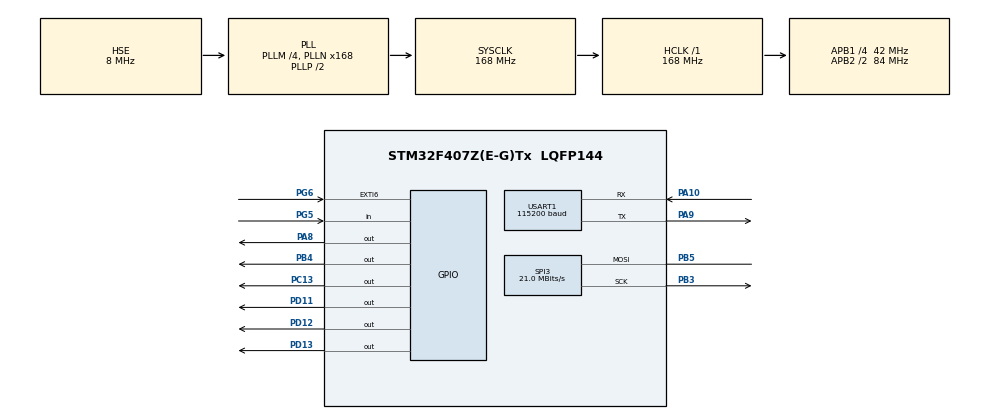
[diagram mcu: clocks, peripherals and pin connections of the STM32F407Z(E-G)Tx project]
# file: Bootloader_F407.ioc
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Dma.Request0=USART1_RX
Dma.Request1=USART1_TX
Dma.USART1_RX.0.Direction=DMA_PERIPH_TO_MEMORY
Dma.USART1_RX.0.FIFOMode=DMA_FIFOMODE_DISABLE
Dma.USART1_RX.0.Instance=DMA2_Stream2
Dma.USART1_RX.0.MemDataAlignment=DMA_MDATAALIGN_BYTE
Dma.USART1_RX.0.MemInc=DMA_MINC_ENABLE
Dma.USART1_RX.0.Mode=DMA_CIRCULAR
Dma.USART1_RX.0.PeriphDataAlignment=DMA_PDATAALIGN_BYTE
Dma.USART1_RX.0.PeriphInc=DMA_PINC_DISABLE
Dma.USART1_RX.0.Priority=DMA_PRIORITY_LOW
Dma.USART1_TX.1.Direction=DMA_MEMORY_TO_PERIPH
Dma.USART1_TX.1.FIFOMode=DMA_FIFOMODE_DISABLE
Dma.USART1_TX.1.Instance=DMA2_Stream7
Dma.USART1_TX.1.MemDataAlignment=DMA_MDATAALIGN_BYTE
Dma.USART1_TX.1.MemInc=DMA_MINC_ENABLE
Dma.USART1_TX.1.Mode=DMA_NORMAL
Dma.USART1_TX.1.PeriphDataAlignment=DMA_PDATAALIGN_BYTE
Dma.USART1_TX.1.PeriphInc=DMA_PINC_DISABLE
Dma.USART1_TX.1.Priority=DMA_PRIORITY_LOW
Mcu.Family=STM32F4
Mcu.Name=STM32F407Z(E-G)Tx
Mcu.Package=LQFP144
NVIC.DMA2_Stream2_IRQn=true\:0\:0\:false\:false\:true\:false\:true\:true
NVIC.DMA2_Stream7_IRQn=true\:0\:0\:false\:false\:true\:false\:true\:true
NVIC.EXTI9_5_IRQn=true\:0\:0\:false\:false\:true\:true\:true\:true
NVIC.PVD_IRQn=true\:0\:0\:false\:false\:true\:true\:true\:true
NVIC.PriorityGroup=NVIC_PRIORITYGROUP_4
NVIC.USART1_IRQn=true\:0\:0\:false\:false\:true\:true\:true\:true
PA10.Mode=Asynchronous
PA10.Signal=USART1_RX
PA13.Mode=Serial_Wire
PA13.Signal=SYS_JTMS-SWDIO
PA14.Mode=Serial_Wire
PA14.Signal=SYS_JTCK-SWCLK
PA8.Signal=GPIO_Output
PA9.Mode=Asynchronous
PA9.Signal=USART1_TX
PB3.Mode=Simplex_Bidirectional_Master
PB3.Signal=SPI3_SCK
PB4.Signal=GPIO_Output
PB5.Mode=Simplex_Bidirectional_Master
PB5.Signal=SPI3_MOSI
PC13-ANTI_TAMP.Signal=GPIO_Output
PC14-OSC32_IN.Mode=LSE-External-Oscillator
PC14-OSC32_IN.Signal=RCC_OSC32_IN
PC15-OSC32_OUT.Mode=LSE-External-Oscillator
PC15-OSC32_OUT.Signal=RCC_OSC32_OUT
PD11.Signal=GPIO_Output
PD12.Signal=GPIO_Output
PD13.Signal=GPIO_Output
PG5.GPIO_PuPd=GPIO_PULLUP
PG5.Signal=GPIO_Input
PG6.GPIO_Mode=GPIO_MODE_IT_FALLING
PG6.GPIO_PuPd=GPIO_PULLUP
PG6.Signal=GPXTI6
PH0-OSC_IN.Mode=HSE-External-Oscillator
PH0-OSC_IN.Signal=RCC_OSC_IN
PH1-OSC_OUT.Mode=HSE-External-Oscillator
PH1-OSC_OUT.Signal=RCC_OSC_OUT
ProjectManager.HeapSize=0x200
ProjectManager.StackSize=0x400
ProjectManager.TargetToolchain=STM32CubeIDE
RCC.48MHZClocksFreq_Value=84000000
RCC.AHBFreq_Value=168000000
RCC.APB1CLKDivider=RCC_HCLK_DIV4
RCC.APB1Freq_Value=42000000
RCC.APB1TimFreq_Value=84000000
RCC.APB2CLKDivider=RCC_HCLK_DIV2
RCC.APB2Freq_Value=84000000
RCC.APB2TimFreq_Value=168000000
RCC.CortexFreq_Value=168000000
RCC.HCLKFreq_Value=168000000
RCC.HSE_VALUE=8000000
RCC.HSI_VALUE=16000000
RCC.PLLM=4
RCC.PLLN=168
RCC.PLLSourceVirtual=RCC_PLLSOURCE_HSE
RCC.SYSCLKFreq_VALUE=168000000
RCC.SYSCLKSource=RCC_SYSCLKSOURCE_PLLCLK
RCC.VCOOutputFreq_Value=336000000
SPI3.BaudRatePrescaler=SPI_BAUDRATEPRESCALER_2
SPI3.CalculateBaudRate=21.0 MBits/s
SPI3.Direction=SPI_DIRECTION_1LINE
SPI3.Mode=SPI_MODE_MASTER
SPI3.VirtualType=VM_MASTER
USART1.BaudRate=115200
USART1.VirtualMode=VM_ASYNC
board=custom

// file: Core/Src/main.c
/* USER CODE BEGIN Header */
/**
  ******************************************************************************
  * @file           : main.c
  * @brief          : Main program body
  ******************************************************************************
  * @attention
  *
  * Copyright (c) 2026 STMicroelectronics.
  * All rights reserved.
  *
  * This software is licensed under terms that can be found in the LICENSE file
  * in the root directory of this software component.
  * If no LICENSE file comes with this software, it is provided AS-IS.
  *
  ******************************************************************************
  */
/* USER CODE END Header */
#include "main.h"
#include "dma.h"
#include "spi.h"
#include "usart.h"
#include "gpio.h"

/* USER CODE BEGIN Includes */
#include "bootloader.h"
#include "lcd_spi_154.h"

/* USER CODE END Includes */

void SystemClock_Config(void);

int main(void)
{

  /* MCU Configuration--------------------------------------------------------*/

  /* Reset of all peripherals, Initializes the Flash interface and the Systick. */
  HAL_Init();

  /* Configure the system clock */
  SystemClock_Config();

  /* Initialize all configured peripherals */
  MX_GPIO_Init();
  MX_DMA_Init();
  MX_SPI3_Init();
  MX_USART1_UART_Init();
  /* USER CODE BEGIN 2 */
    SPI_LCD_Init();
    LCD_SetTextFont(&CH_Font24);
  /* Bootloader：检查升级标志 -> 搬运 -> 跳转 APP（正常不返回，后面 while(1) 仅兜底） */
  Bootloader_Run();
  /* USER CODE END 2 */

  /* Infinite loop */
  while (1)
  {

  }
}

void SystemClock_Config(void)
{
  RCC_OscInitTypeDef RCC_OscInitStruct = {0};
  RCC_ClkInitTypeDef RCC_ClkInitStruct = {0};

  /** Configure the main internal regulator output voltage
  */
  __HAL_RCC_PWR_CLK_ENABLE();
  __HAL_PWR_VOLTAGESCALING_CONFIG(PWR_REGULATOR_VOLTAGE_SCALE1);

  /** Initializes the RCC Oscillators according to the specified parameters
  * in the RCC_OscInitTypeDef structure.
  */
  RCC_OscInitStruct.OscillatorType = RCC_OSCILLATORTYPE_HSE;
  RCC_OscInitStruct.HSEState = RCC_HSE_ON;
  RCC_OscInitStruct.PLL.PLLState = RCC_PLL_ON;
  RCC_OscInitStruct.PLL.PLLSource = RCC_PLLSOURCE_HSE;
  RCC_OscInitStruct.PLL.PLLM = 4;
  RCC_OscInitStruct.PLL.PLLN = 168;
  RCC_OscInitStruct.PLL.PLLP = RCC_PLLP_DIV2;
  RCC_OscInitStruct.PLL.PLLQ = 4;
  if (HAL_RCC_OscConfig(&RCC_OscInitStruct) != HAL_OK)
  {
    Error_Handler();
  }

  /** Initializes the CPU, AHB and APB buses clocks
  */
  RCC_ClkInitStruct.ClockType = RCC_CLOCKTYPE_HCLK|RCC_CLOCKTYPE_SYSCLK
                              |RCC_CLOCKTYPE_PCLK1|RCC_CLOCKTYPE_PCLK2;
  RCC_ClkInitStruct.SYSCLKSource = RCC_SYSCLKSOURCE_PLLCLK;
  RCC_ClkInitStruct.AHBCLKDivider = RCC_SYSCLK_DIV1;
  RCC_ClkInitStruct.APB1CLKDivider = RCC_HCLK_DIV4;
  RCC_ClkInitStruct.APB2CLKDivider = RCC_HCLK_DIV2;

  if (HAL_RCC_ClockConfig(&RCC_ClkInitStruct, FLASH_LATENCY_5) != HAL_OK)
  {
    Error_Handler();
  }
}

/* USER CODE BEGIN 4 */
/* 外部中断回调：PG6 按下 -> 只置一个"请求弹菜单"的标志，立刻返回。
 * ⚠️ 真正的菜单处理放在主循环（Bootloader_Run 每轮调 Key_Menu_Process()）：
 *    本中断优先级 0，和 USART1/DMA 同级、互不抢占，在 ISR 里做长耗时的事会把串口
 *    和 DMA 全部挡住（OTA 收包直接丢），而且菜单里那个等按键的循环一旦出不来
 *    就是死机 —— 现场表现就是"按下直接死机"。 */
void HAL_GPIO_EXTI_Callback(uint16_t GPIO_Pin) {
    if (GPIO_Pin == GPIO_PIN_6) {
        Key_Menu_Request();
    }
}

/* UART 发送中断回调函数 */
void HAL_UART_TxCpltCallback(UART_HandleTypeDef *huart) {
    // 串口DMA发送完毕时调用
    if (huart->Instance == USART1) {
        TxEnd_Flag = 1;
    }
}

/* 串口DMA 缓存区溢出中断回调函数 */
void HAL_UART_ErrorCallback(UART_HandleTypeDef *huart) {
    if (huart->Instance == USART1) {
        Uart_ErrCount++;                    /* 诊断计数：升级超时帧里会报出来 */
        /* 清除所有可能的错误标志 */
        // 当DMA没有及时搬运数据寄存器RDR中数据时
        __HAL_UART_CLEAR_OREFLAG(huart);    // 清除接收数据寄存器RDR过载错误标志位

        __HAL_UART_CLEAR_PEFLAG(huart);     // 清除奇偶校验错误标志位
        __HAL_UART_CLEAR_FEFLAG(huart);     // 清除停止位错误标志位
        __HAL_UART_CLEAR_NEFLAG(huart);     // 清除噪声错误标志位

        TxEnd_Flag = 1;                     // 重启串口发送完毕标志位

        /* 重开 DMA 接收。
         * ⚠️ 两个坑（升级时"只收到几十字节就再也不动了"的根因之一）：
         *  ① 出错时 HAL 已经把 DMA 停了，RxState 可能还停在 BUSY，
         *     这时直接 Receive_DMA 会返回 HAL_BUSY、接收永久停摆 —— 先 Abort 再开；
         *  ② DMA 重开后计数器回到满值（相当于读指针 cur=0），
         *     而 RxBuff_Old 还停在出错前的位置，OTA_Pull() 会一直判成"没有新数据"，
         *     手机怎么重发都收不到（现象：[OTA TIMEOUT RX:22] 之后一字节不进）。
         *     所以必须把影子读指针一起清零。 */
        if (huart->RxState != HAL_UART_STATE_READY) {
            HAL_UART_AbortReceive(huart);
        }
        HAL_UART_Receive_DMA(&huart1, (uint8_t *) Rx_Buf1, UART_BUFF_SIZE);
        RxBuff_Old = 0;
        RxBuff_New = 0;
    }
}
/* USER CODE END 4 */

void Error_Handler(void)
{
  __disable_irq();
  while (1)
  {
  }
}
